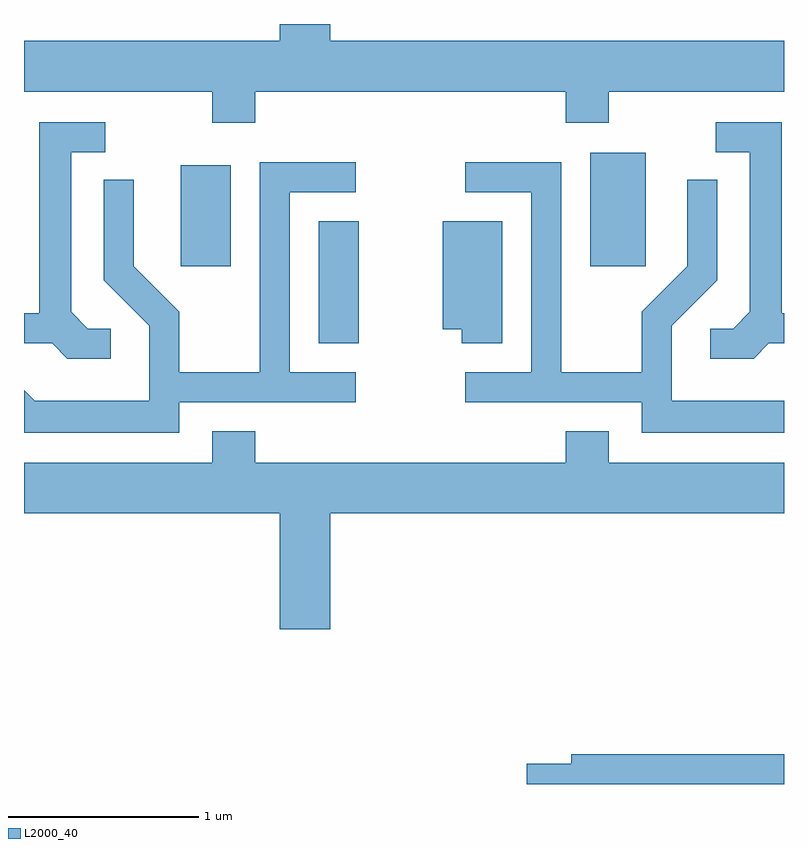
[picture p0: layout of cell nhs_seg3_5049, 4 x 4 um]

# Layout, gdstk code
import gdstk
lib = gdstk.Library(unit=1e-6, precision=1e-09)
def R(c, l, rs):  # rectangles x0, y0, x1, y1
    for r in rs: c.add(gdstk.rectangle(r[:2], r[2:], *l))
def P(c, l, *ps):  # polygons
    for p in ps: c.add(gdstk.Polygon(p, *l))
L2000_40 = (2000, 40)

nhs_seg3_5049 = lib.new_cell('nhs_seg3_5049')
R(nhs_seg3_5049, L2000_40, [(335.161,1160.211,335.374,1160.854), (334.436,1160.616,334.699,1161.149), (336.591,1160.616,336.884,1161.214)])
P(nhs_seg3_5049, L2000_40, [(334.829,1161.536),(336.461,1161.536),(336.461,1161.371),(336.689,1161.371),(336.689,1161.536),(337.611,1161.536),(337.611,1161.804),(335.224,1161.804),(335.224,1161.892),(334.956,1161.892),(334.956,1161.804),(333.611,1161.804),(333.611,1161.536),(334.601,1161.536),(334.601,1161.371),(334.829,1161.371)],
  [(337.532,1160.211),(337.611,1160.211),(337.611,1160.369),(337.599,1160.369),(337.599,1161.374),(337.253,1161.374),(337.253,1161.216),(337.431,1161.216),(337.431,1160.377),(337.344,1160.289),(337.223,1160.289),(337.223,1160.131),(337.452,1160.131)],
  [(334.068,1160.289),(333.947,1160.289),(333.859,1160.377),(333.859,1161.216),(334.038,1161.216),(334.038,1161.374),(333.691,1161.374),(333.691,1160.369),(333.611,1160.369),(333.611,1160.211),(333.759,1160.211),(333.839,1160.131),(334.068,1160.131)],
  [(334.429,1159.901),(335.358,1159.901),(335.358,1160.059),(335.009,1160.059),(335.009,1161.006),(335.358,1161.006),(335.358,1161.164),(334.851,1161.164),(334.851,1160.059),(334.429,1160.059),(334.429,1160.377),(334.189,1160.617),(334.189,1161.073),(334.031,1161.073),(334.031,1160.544),(334.271,1160.304),(334.271,1159.909),(333.667,1159.909),(333.611,1159.965),(333.611,1159.741),(334.429,1159.741)],
  [(337.611,1159.909),(337.019,1159.909),(337.019,1160.304),(337.259,1160.544),(337.259,1161.073),(337.101,1161.073),(337.101,1160.617),(336.861,1160.377),(336.861,1160.059),(336.439,1160.059),(336.439,1161.164),(335.933,1161.164),(335.933,1161.006),(336.281,1161.006),(336.281,1160.059),(335.933,1160.059),(335.933,1159.901),(336.861,1159.901),(336.861,1159.741),(337.611,1159.741)],
  [(336.129,1160.854),(335.816,1160.854),(335.816,1160.286),(335.916,1160.286),(335.916,1160.211),(336.129,1160.211)],
  [(335.224,1159.316),(337.611,1159.316),(337.611,1159.584),(336.689,1159.584),(336.689,1159.749),(336.461,1159.749),(336.461,1159.584),(334.829,1159.584),(334.829,1159.749),(334.601,1159.749),(334.601,1159.584),(333.611,1159.584),(333.611,1159.316),(334.956,1159.316),(334.956,1158.706),(335.224,1158.706)],
  [(337.611,1158.049),(336.491,1158.049),(336.491,1157.999),(336.256,1157.999),(336.256,1157.892),(337.611,1157.892)])

lib.write_gds('nhs_seg3_5049.gds')
